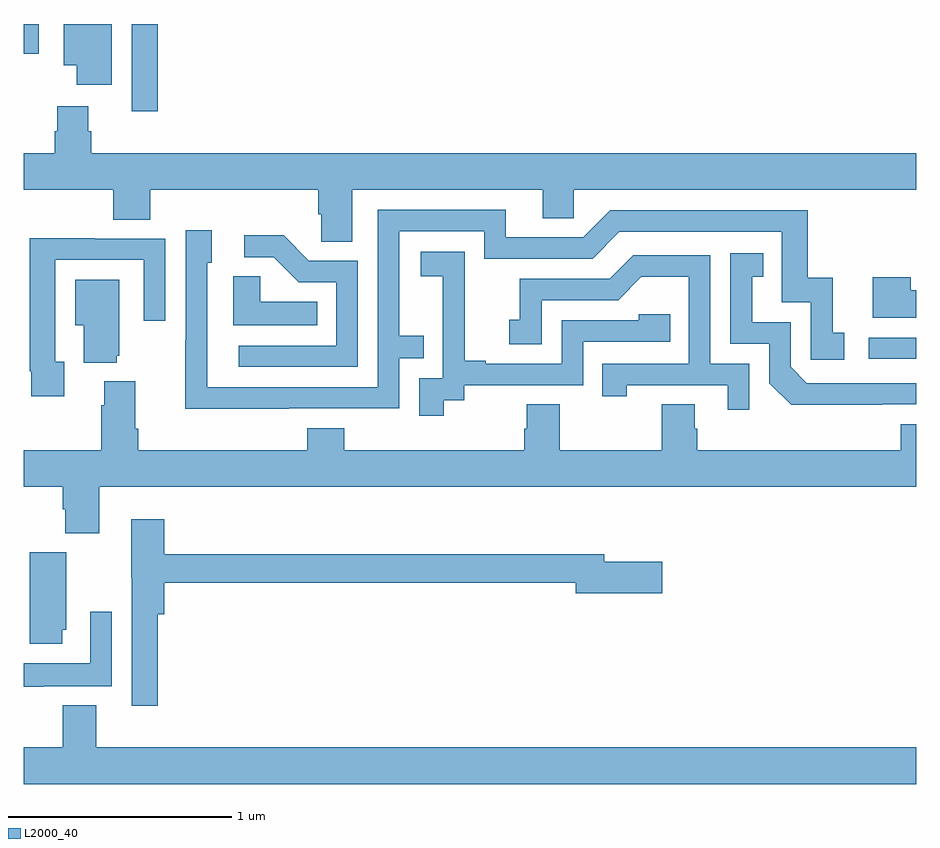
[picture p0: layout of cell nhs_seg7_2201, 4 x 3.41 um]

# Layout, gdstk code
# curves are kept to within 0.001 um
import gdstk
lib = gdstk.Library(unit=1e-6, precision=1e-09)
def R(c, l, rs):  # rectangles x0, y0, x1, y1
    for r in rs: c.add(gdstk.rectangle(r[:2], r[2:], *l))
def P(c, l, *ps):  # polygons
    for p in ps: c.add(gdstk.Polygon(p, *l))
L2000_40 = (2000, 40)

nhs_seg7_2201 = lib.new_cell('nhs_seg7_2201')
R(nhs_seg7_2201, L2000_40, [(258.789,1026.498,259,1026.594), (255.483,1027.608,255.599,1028), (255,1027.867,255.067,1028)])
P(nhs_seg7_2201, L2000_40, [(255.394,1028),(255.179,1028),(255.179,1027.814),(255.236,1027.814),(255.236,1027.728),(255.394,1027.728)],
  [(256.471,1027.256),(257.327,1027.256),(257.327,1027.129),(257.466,1027.129),(257.466,1027.256),(259,1027.256),(259,1027.42),(255.302,1027.42),(255.302,1027.518),(255.289,1027.518),(255.289,1027.632),(255.149,1027.632),(255.149,1027.518),(255.137,1027.518),(255.137,1027.42),(255,1027.42),(255,1027.256),(255.401,1027.256),(255.401,1027.123),(255.566,1027.123),(255.566,1027.256),(256.319,1027.256),(256.319,1027.147),(256.332,1027.147),(256.332,1027.024),(256.471,1027.024)],
  [(256.187,1026.276),(256.683,1026.276),(256.683,1026.501),(256.793,1026.501),(256.793,1026.602),(256.683,1026.602),(256.683,1027.071),(257.064,1027.071),(257.064,1026.948),(257.55,1026.948),(257.67,1027.068),(258.399,1027.068),(258.399,1026.753),(258.528,1026.753),(258.528,1026.495),(258.679,1026.495),(258.679,1026.615),(258.626,1026.615),(258.626,1026.862),(258.515,1026.862),(258.515,1027.164),(257.628,1027.164),(257.508,1027.044),(257.161,1027.044),(257.161,1027.167),(256.587,1027.167),(256.587,1026.372),(255.822,1026.372),(255.822,1026.93),(255.841,1026.93),(255.841,1027.075),(255.726,1027.075),(255.726,1026.581),(255.724,1026.581),(255.724,1026.275)],
  [(256.497,1026.939),(256.278,1026.939),(256.165,1027.052),(255.987,1027.052),(255.987,1026.954),(256.121,1026.954),(256.232,1026.843),(256.401,1026.843),(256.401,1026.558),(255.963,1026.558),(255.963,1026.462),(256.497,1026.462)],
  [(255.181,1026.486),(255.141,1026.486),(255.141,1026.942),(255.537,1026.942),(255.537,1026.669),(255.633,1026.669),(255.633,1027.038),(255.317,1027.038),(255.317,1027.04),(255.025,1027.04),(255.025,1026.442),(255.033,1026.442),(255.033,1026.33),(255.181,1026.33)],
  [(256.882,1026.313),(256.974,1026.313),(256.974,1026.381),(257.508,1026.381),(257.508,1026.576),(257.897,1026.576),(257.897,1026.699),(257.757,1026.699),(257.757,1026.672),(257.412,1026.672),(257.412,1026.477),(257.071,1026.477),(257.071,1026.49),(256.976,1026.49),(256.976,1026.773),(256.977,1026.773),(256.977,1026.979),(256.779,1026.979),(256.779,1026.869),(256.877,1026.869),(256.877,1026.641),(256.878,1026.641),(256.878,1026.411),(256.773,1026.411),(256.773,1026.243),(256.882,1026.243)],
  [(258.848,1026.294),(259,1026.294),(259,1026.39),(258.51,1026.39),(258.438,1026.462),(258.438,1026.663),(258.265,1026.663),(258.265,1026.867),(258.314,1026.867),(258.314,1026.973),(258.168,1026.973),(258.168,1026.567),(258.342,1026.567),(258.342,1026.39),(258.44,1026.293)],
  [(258.252,1026.477),(258.078,1026.477),(258.078,1026.963),(257.732,1026.963),(257.627,1026.858),(257.224,1026.858),(257.224,1026.673),(257.175,1026.673),(257.175,1026.564),(257.322,1026.564),(257.322,1026.762),(257.664,1026.762),(257.768,1026.866),(257.982,1026.866),(257.982,1026.477),(257.593,1026.477),(257.593,1026.33),(257.704,1026.33),(257.704,1026.381),(258.155,1026.381),(258.155,1026.27),(258.252,1026.27)],
  [(256.316,1026.754),(256.059,1026.754),(256.059,1026.869),(255.938,1026.869),(255.938,1026.65),(256.316,1026.65)],
  [(259,1026.805),(258.977,1026.805),(258.977,1026.865),(258.806,1026.865),(258.806,1026.683),(259,1026.683)],
  [(255.416,1026.513),(255.427,1026.513),(255.427,1026.853),(255.23,1026.853),(255.23,1026.65),(255.269,1026.65),(255.269,1026.482),(255.416,1026.482)],
  [(255.338,1025.924),(259,1025.924),(259,1026.205),(258.932,1026.205),(258.932,1026.088),(258.02,1026.088),(258.02,1026.186),(258.007,1026.186),(258.007,1026.296),(257.86,1026.296),(257.86,1026.088),(257.403,1026.088),(257.403,1026.296),(257.255,1026.296),(257.255,1026.186),(257.243,1026.186),(257.243,1026.088),(256.436,1026.088),(256.436,1026.187),(256.271,1026.187),(256.271,1026.088),(255.512,1026.088),(255.512,1026.184),(255.499,1026.184),(255.499,1026.397),(255.359,1026.397),(255.359,1026.29),(255.347,1026.29),(255.347,1026.088),(255,1026.088),(255,1025.924),(255.173,1025.924),(255.173,1025.825),(255.185,1025.825),(255.185,1025.716),(255.338,1025.716)],
  [(255.599,1025.354),(255.629,1025.354),(255.629,1025.494),(257.474,1025.494),(257.474,1025.447),(257.863,1025.447),(257.863,1025.589),(257.602,1025.589),(257.602,1025.623),(255.629,1025.623),(255.629,1025.779),(255.482,1025.779),(255.482,1025.517),(255.483,1025.517),(255.483,1024.944),(255.599,1024.944)],
  [(255.172,1025.283),(255.19,1025.283),(255.19,1025.631),(255.026,1025.631),(255.026,1025.22),(255.172,1025.22)],
  [(255.089,1025.03),(255.393,1025.03),(255.393,1025.365),(255.297,1025.365),(255.297,1025.134),(255,1025.134),(255,1025.028),(255.089,1025.028)],
  [(259,1024.756),(255.325,1024.756),(255.325,1024.945),(255.173,1024.945),(255.173,1024.756),(255,1024.756),(255,1024.592),(259,1024.592)])

lib.write_gds('nhs_seg7_2201.gds')
